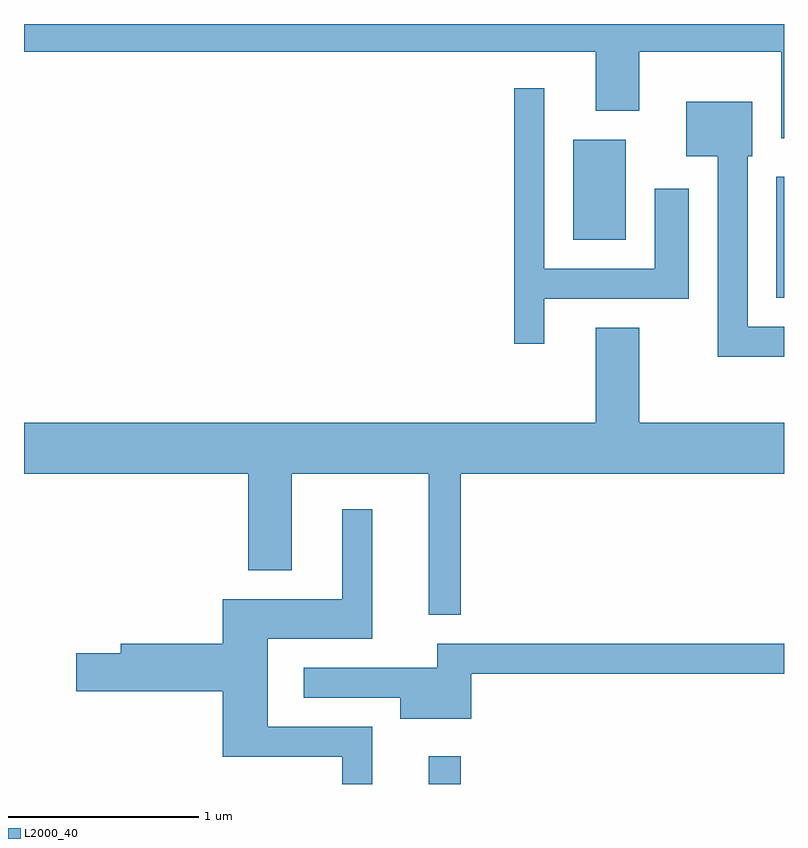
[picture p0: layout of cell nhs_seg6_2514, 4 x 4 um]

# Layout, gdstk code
import gdstk
lib = gdstk.Library(unit=1e-6, precision=1e-09)
def R(c, l, rs):  # rectangles x0, y0, x1, y1
    for r in rs: c.add(gdstk.rectangle(r[:2], r[2:], *l))
def P(c, l, *ps):  # polygons
    for p in ps: c.add(gdstk.Polygon(p, *l))
L2000_40 = (2000, 40)

nhs_seg6_2514 = lib.new_cell('nhs_seg6_2514')
R(nhs_seg6_2514, L2000_40, [(263.741,1566.162,263.909,1566.308), (265.571,1568.721,265.611,1569.359), (264.501,1569.026,264.779,1569.554)])
P(nhs_seg6_2514, L2000_40, [(265.611,1570.162),(261.611,1570.162),(261.611,1570.016),(264.621,1570.016),(264.621,1569.706),(264.849,1569.706),(264.849,1570.016),(265.596,1570.016),(265.596,1569.561),(265.611,1569.561)],
  [(264.349,1568.716),(265.109,1568.716),(265.109,1569.294),(264.931,1569.294),(264.931,1568.874),(264.349,1568.874),(264.349,1569.823),(264.191,1569.823),(264.191,1568.478),(264.349,1568.478)],
  [(265.611,1568.569),(265.419,1568.569),(265.419,1569.466),(265.444,1569.466),(265.444,1569.754),(265.096,1569.754),(265.096,1569.466),(265.261,1569.466),(265.261,1568.411),(265.611,1568.411)],
  [(263.909,1567.796),(265.611,1567.796),(265.611,1568.064),(264.849,1568.064),(264.849,1568.564),(264.621,1568.564),(264.621,1568.064),(261.611,1568.064),(261.611,1567.796),(262.791,1567.796),(262.791,1567.286),(263.019,1567.286),(263.019,1567.796),(263.741,1567.796),(263.741,1567.053),(263.909,1567.053)],
  [(263.444,1566.464),(262.894,1566.464),(262.894,1566.926),(263.444,1566.926),(263.444,1567.608),(263.286,1567.608),(263.286,1567.134),(262.656,1567.134),(262.656,1566.899),(262.121,1566.899),(262.121,1566.849),(261.886,1566.849),(261.886,1566.651),(262.656,1566.651),(262.656,1566.306),(263.286,1566.306),(263.286,1566.162),(263.444,1566.162)],
  [(263.964,1566.741),(265.611,1566.741),(265.611,1566.899),(263.786,1566.899),(263.786,1566.774),(263.083,1566.774),(263.083,1566.616),(263.591,1566.616),(263.591,1566.506),(263.964,1566.506)])

lib.write_gds('nhs_seg6_2514.gds')
